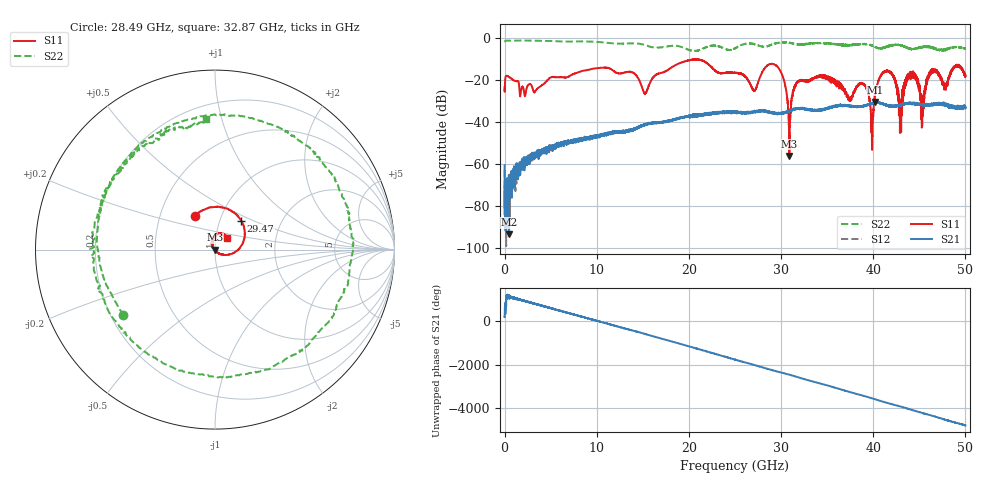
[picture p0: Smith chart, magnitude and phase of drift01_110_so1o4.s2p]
!Created with skrf (http://scikit-rf.org).
# Hz S RI R 50.0
!freq ReS11 ImS11 ReS21 ImS21 ReS12 ImS12 ReS22 ImS22
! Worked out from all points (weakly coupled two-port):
!   10001 points, 300 kHz to 50 GHz, reference 50 ohm
!   highest |S21| = -30.60 dB at 40.21 GHz (marker M1); lowest = -93.4 dB at 485.3 MHz (marker M2)
!   lowest |S11| = -56.1 dB at 30.9 GHz (marker M3), VSWR 1.00, Z = 49.9 - j0.13 ohm
!   |S11| at or under -10 dB: start of sweep to end of sweep
!   |S22| runs from -6.4 to -1.4 dB; largest |S21 - S12| = 0.0041
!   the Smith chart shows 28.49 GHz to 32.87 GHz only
!   S11 on the Smith chart (normalised r, x): 28.49 GHz: 0.75, +0.29; 29.47 GHz: 1.26, +0.43; 32.87 GHz: 1.13, +0.15
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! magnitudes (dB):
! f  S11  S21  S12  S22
! 300 kHz  -23.6  -60.6  -62.9  -2.1
! 485.3 MHz  -18.6  -93.4  -68.4  -1.4
! 8.335 GHz  -16.0  -48.0  -48.8  -1.8
! 15.23 GHz  -26.6  -41.3  -41.4  -3.5
! 16.67 GHz  -17.1  -40.4  -40.4  -4.8
! 25 GHz  -16.7  -35.0  -35.1  -5.0
! 27.1 GHz  -25.2  -35.1  -35.1  -3.1
! 28.49 GHz  -13.3  -34.9  -35.2  -4.0
! 29.47 GHz  -13.2  -36.0  -35.8  -2.7
! 30.9 GHz  -56.1  -35.2  -34.9  -2.5
! 31.61 GHz  -22.1  -33.9  -33.8  -3.1
! 32.87 GHz  -20.5  -34.2  -34.0  -2.7
! 33.34 GHz  -19.7  -34.4  -34.4  -2.7
! 38.91 GHz  -22.1  -32.5  -32.6  -3.0
! 39.85 GHz  -46.8  -31.0  -31.1  -3.8
! 40.21 GHz  -27.0  -30.6  -30.9  -4.4
! 41.67 GHz  -15.8  -32.2  -32.4  -4.3
! 42.97 GHz  -39.3  -32.2  -31.9  -3.8
! 44.05 GHz  -17.2  -31.0  -31.0  -5.3
! 45.33 GHz  -37.5  -31.7  -31.6  -4.6
! 46.42 GHz  -15.5  -31.8  -31.8  -4.8
! 50 GHz  -18.0  -33.3  -33.0  -5.3
